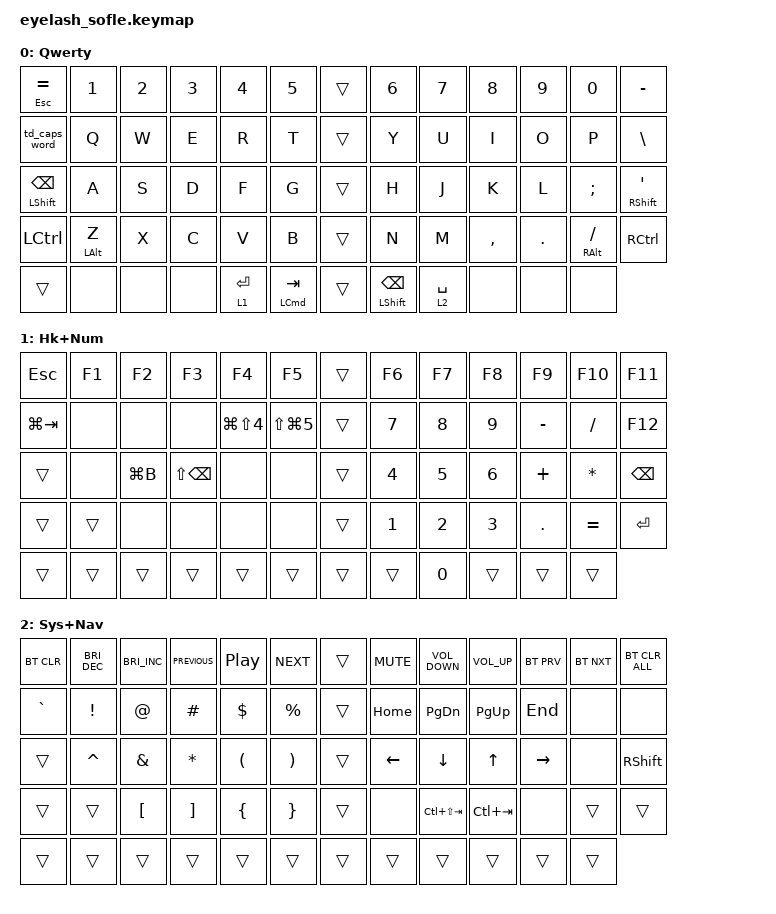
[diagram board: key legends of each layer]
#include <zephyr/dt-bindings/input/input-event-codes.h>
#include <behaviors.dtsi>
#include <dt-bindings/zmk/bt.h>
#include <dt-bindings/zmk/keys.h>

/ {
    combos {
        compatible = "zmk,combos";

        jk-to-Escape {
            bindings = <&kp ESC>;
            key-positions = <34 35>;
            layers = <0>;
        };
    };

    behaviors {
        td_caps_word: td_caps_word {
            compatible = "zmk,behavior-tap-dance";
            label = "TD_CAPS_WORD";
            #binding-cells = <0>;
            bindings = <&kp CAPSLOCK>, <&caps_word>;
        };

        mt_z_pref: mod_tap_z_preferred {
            compatible = "zmk,behavior-hold-tap";
            #binding-cells = <2>;
            flavor = "tap-preferred";
            tapping-term-ms = <200>;
            bindings = <&kp>, <&kp>;
        };

        mt_slash_pref: mod_tap_slash_preferred {
            compatible = "zmk,behavior-hold-tap";
            #binding-cells = <2>;
            flavor = "tap-preferred";
            tapping-term-ms = <200>;
            bindings = <&kp>, <&kp>;
        };

        lt_layer_preferred: layout_tap_layer_preferred {
            compatible = "zmk,behavior-hold-tap";
            #binding-cells = <2>;
            flavor = "hold-preferred";
            tapping-term-ms = <200>;
            bindings = <&mo>, <&kp>;
        };
    };

    keymap {
        compatible = "zmk,keymap";

        Main0 {
            label = "Qwerty";
            bindings = <
&mt ESCAPE EQUAL          &kp NUMBER_1           &kp NUMBER_2  &kp NUMBER_3  &kp NUMBER_4                 &kp NUMBER_5            &trans  &kp NUMBER_6              &kp NUMBER_7  &kp NUMBER_8  &kp NUMBER_9  &kp NUMBER_0                    &kp MINUS
&td_caps_word             &kp Q                  &kp W         &kp E         &kp R                        &kp T                   &trans  &kp Y                     &kp U         &kp I         &kp O         &kp P                           &kp BACKSLASH
&mt LEFT_SHIFT BACKSPACE  &kp A                  &kp S         &kp D         &kp F                        &kp G                   &trans  &kp H                     &kp J         &kp K         &kp L         &kp SEMICOLON                   &mt RIGHT_SHIFT SINGLE_QUOTE
&kp LEFT_CONTROL          &mt_z_pref LEFT_ALT Z  &kp X         &kp C         &kp V                        &kp B                   &trans  &kp N                     &kp M         &kp COMMA     &kp PERIOD    &mt_slash_pref RIGHT_ALT SLASH  &kp RIGHT_CONTROL
&trans                    &none                  &none         &none         &lt_layer_preferred 1 ENTER  &mt LEFT_COMMAND TAB    &trans  &mt LEFT_SHIFT BACKSPACE  &lt 2 SPACE   &none         &none         &none
            >;
        };

        Hk+Num1 {
            label = "Hk+Num";
            bindings = <
&kp ESCAPE   &kp F1  &kp F2     &kp F3             &kp F4                &kp F5            &trans  &kp F6        &kp F7        &kp F8        &kp F9     &kp F10    &kp F11
&kp LG(TAB)  &none   &none      &none              &kp LG(LS(NUMBER_4))  &kp LS(LG(N5))    &trans  &kp NUMBER_7  &kp NUMBER_8  &kp NUMBER_9  &kp MINUS  &kp SLASH  &kp F12
&trans       &none   &kp LG(B)  &kp LS(BACKSPACE)  &none                 &none             &trans  &kp NUMBER_4  &kp NUMBER_5  &kp NUMBER_6  &kp PLUS   &kp STAR   &kp BACKSPACE
&trans       &trans  &none      &none              &none                 &none             &trans  &kp NUMBER_1  &kp NUMBER_2  &kp NUMBER_3  &kp DOT    &kp EQUAL  &kp ENTER
&trans       &trans  &trans     &trans             &trans                &trans            &trans  &trans        &kp NUMBER_0  &trans        &trans     &trans
            >;
        };

        Sys+Nav2 {
            label = "Sys+Nav";
            bindings = <
&bt BT_CLR  &kp C_BRIGHTNESS_DEC  &kp C_BRIGHTNESS_INC  &kp C_PREVIOUS     &kp C_PLAY_PAUSE      &kp C_NEXT               &trans  &kp C_MUTE  &kp C_VOLUME_DOWN  &kp C_VOLUME_UP  &bt BT_PRV  &bt BT_NXT  &bt BT_CLR_ALL
&kp GRAVE   &kp EXCLAMATION       &kp AT_SIGN           &kp HASH           &kp DOLLAR            &kp PERCENT              &trans  &kp HOME    &kp PG_DN          &kp PG_UP        &kp END     &none       &none
&trans      &kp CARET             &kp AMPERSAND         &kp ASTERISK       &kp LEFT_PARENTHESIS  &kp RIGHT_PARENTHESIS    &trans  &kp LEFT    &kp DOWN           &kp UP           &kp RIGHT   &none       &kp RIGHT_SHIFT
&trans      &trans                &kp LEFT_BRACKET      &kp RIGHT_BRACKET  &kp LEFT_BRACE        &kp RIGHT_BRACE          &trans  &none       &kp LC(LS(TAB))    &kp LC(TAB)      &none       &trans      &trans
&trans      &trans                &trans                &trans             &trans                &trans                   &trans  &trans      &trans             &trans           &trans      &trans
            >;
        };
    };
};
